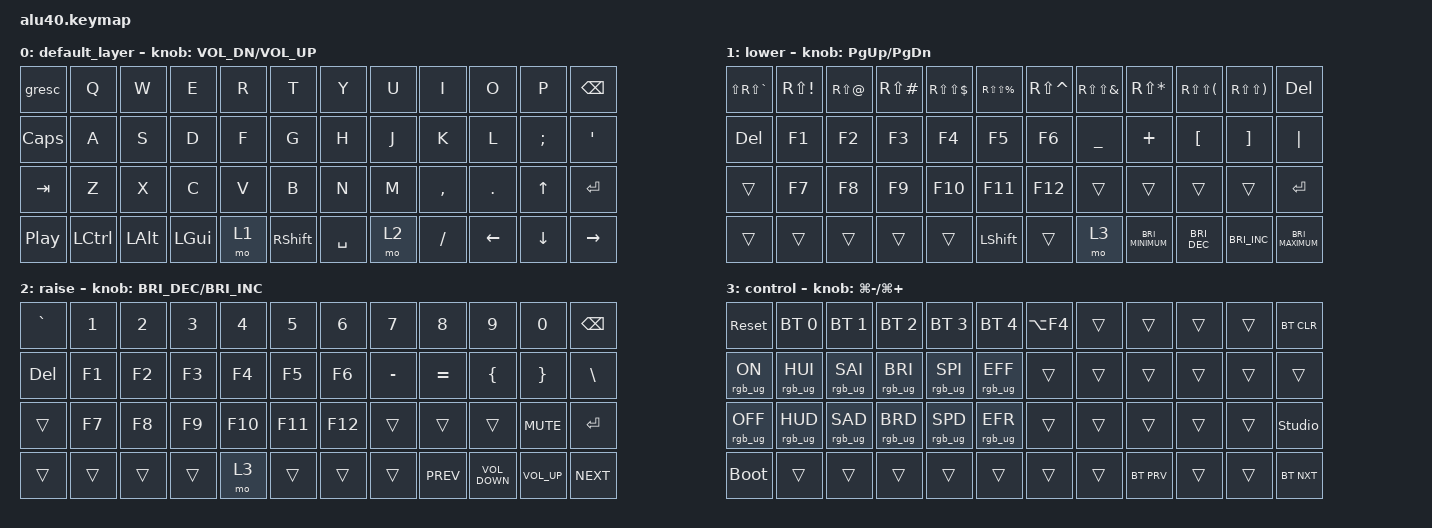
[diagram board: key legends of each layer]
/*
 * Copyright (c) 2022 The ZMK Contributors
 *
 * SPDX-License-Identifier: MIT
 */

#include <behaviors.dtsi>
#include <dt-bindings/zmk/bt.h>
#include <dt-bindings/zmk/keys.h>
#include <dt-bindings/zmk/rgb.h>

/ {
    keymap {
        compatible = "zmk,keymap";

        default_layer {
            // -----------------------------------------------------------------------------------------
            // | ESC/~ |  Q   |  W   |  E   |  R   |  T   |   Y   |  U    |  I   |  O   |   P   | BSPC  |
            // | TAB   |  A   |  S   |  D   |  F   |  G   |   H   |  J    |  K   |  L   |   ;   |  '    |
            // | SHIFT |  Z   |  X   |  C   |  V   |  B   |   N   |  M    |  ,   |  .   |   /   |RET/SFT|
            // | PLAY  | LCTL | LALT | LGUI | LOWR |     SPACE    |  RAIS | LARW | UARW | DARW  |  RARW |

            bindings = <
&gresc    &kp Q      &kp W         &kp E         &kp R  &kp T            &kp Y      &kp U  &kp I      &kp O     &kp P         &kp BSPC
&kp CAPS  &kp A      &kp S         &kp D         &kp F  &kp G            &kp H      &kp J  &kp K      &kp L     &kp SEMI      &kp SQT
&kp TAB   &kp Z      &kp X         &kp C         &kp V  &kp B            &kp N      &kp M  &kp COMMA  &kp DOT   &kp UP_ARROW  &kp RETURN
&kp C_PP  &kp LCTRL  &kp LEFT_ALT  &kp LEFT_GUI  &mo 1  &kp RIGHT_SHIFT  &kp SPACE  &mo 2  &kp SLASH  &kp LEFT  &kp DOWN      &kp RIGHT
            >;

            sensor-bindings = <&inc_dec_kp C_VOL_DN C_VOL_UP>;
        };

        lower {
            bindings = <
&kp LS(RS(GRAVE))  &kp RS(EXCL)  &kp RS(AT)  &kp RS(HASH)  &kp RS(LS(DOLLAR))  &kp RS(LS(PERCENT))  &kp RS(CARET)  &kp RS(LS(AMPERSAND))  &kp RS(STAR)              &kp RS(LS(LEFT_PARENTHESIS))  &kp RS(LS(RIGHT_PARENTHESIS))  &kp DEL
&kp DEL            &kp F1        &kp F2      &kp F3        &kp F4              &kp F5               &kp F6         &kp UNDER              &kp PLUS                  &kp LEFT_BRACKET              &kp RIGHT_BRACKET              &kp PIPE
&trans             &kp F7        &kp F8      &kp F9        &kp F10             &kp F11              &kp F12        &trans                 &trans                    &trans                        &trans                         &kp RET
&trans             &trans        &trans      &trans        &trans              &kp LEFT_SHIFT       &trans         &mo 3                  &kp C_BRIGHTNESS_MINIMUM  &kp C_BRIGHTNESS_DEC          &kp C_BRIGHTNESS_INC           &kp C_BRIGHTNESS_MAXIMUM
            >;

            sensor-bindings = <&inc_dec_kp PG_UP PG_DN>;
        };

        raise {
            bindings = <
&kp GRAVE  &kp N1  &kp N2  &kp N3  &kp N4   &kp N5   &kp N6   &kp N7     &kp N8      &kp N9             &kp N0           &kp BSPC
&kp DEL    &kp F1  &kp F2  &kp F3  &kp F4   &kp F5   &kp F6   &kp MINUS  &kp EQUAL   &kp LEFT_BRACE     &kp RIGHT_BRACE  &kp BSLH
&trans     &kp F7  &kp F8  &kp F9  &kp F10  &kp F11  &kp F12  &trans     &trans      &trans             &kp K_MUTE       &kp RET
&trans     &trans  &trans  &trans  &mo 3    &trans   &trans   &trans     &kp C_PREV  &kp C_VOLUME_DOWN  &kp C_VOLUME_UP  &kp C_NEXT
            >;

            sensor-bindings = <&inc_dec_kp C_BRI_DEC C_BRI_INC>;
        };

        control {
            bindings = <
&sys_reset       &bt BT_SEL 0     &bt BT_SEL 1     &bt BT_SEL 2     &bt BT_SEL 3     &bt BT_SEL 4     &kp LA(F4)  &trans  &trans      &trans  &trans  &bt BT_CLR
&rgb_ug RGB_ON   &rgb_ug RGB_HUI  &rgb_ug RGB_SAI  &rgb_ug RGB_BRI  &rgb_ug RGB_SPI  &rgb_ug RGB_EFF  &trans      &trans  &trans      &trans  &trans  &trans
&rgb_ug RGB_OFF  &rgb_ug RGB_HUD  &rgb_ug RGB_SAD  &rgb_ug RGB_BRD  &rgb_ug RGB_SPD  &rgb_ug RGB_EFR  &trans      &trans  &trans      &trans  &trans  &studio_unlock
&bootloader      &trans           &trans           &trans           &trans           &trans           &trans      &trans  &bt BT_PRV  &trans  &trans  &bt BT_NXT
            >;

            sensor-bindings = <&inc_dec_kp LG(MINUS) LG(PLUS)>;
        };

        extra1 { status = "reserved"; };

        extra2 { status = "reserved"; };

        extra3 { status = "reserved"; };

        extra4 { status = "reserved"; };
    };
};
